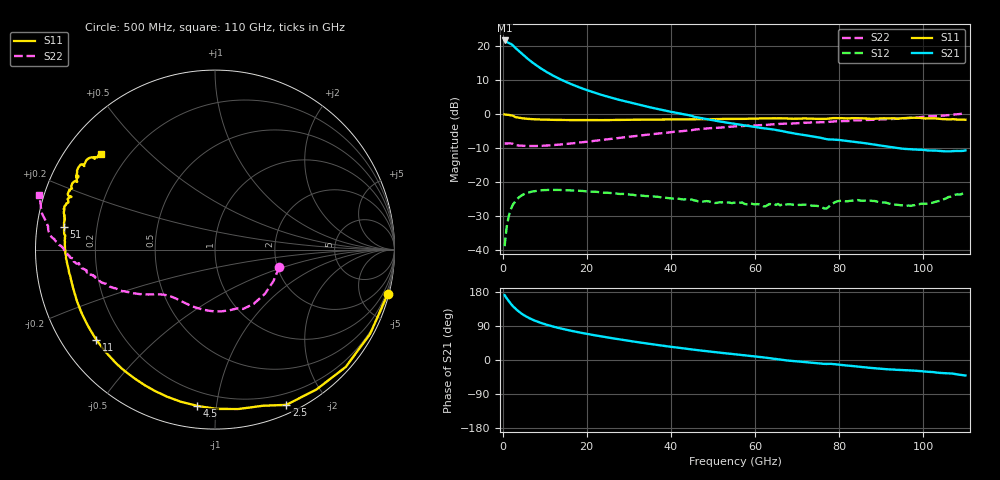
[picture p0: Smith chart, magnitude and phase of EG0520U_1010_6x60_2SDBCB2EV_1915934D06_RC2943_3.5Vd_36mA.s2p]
!File name = EG0520U_1010_6x60_2SDBCB2EV_1915934D06_RC2943_3.5Vd_36mA.s2p
!Base file name = EG0520U_1010_6x60_2SDBCB2EV_1915934D06_RC2943
!Date = 8/23/2019
!Time = 1:04 PM
!Test duration(min) = 0.15
!Test = S-Parameters
!MPTS version = 8.91.5
!State File = C:\Data\PNA\20190821205423\S-Parameters_2019-08-23.sta
!Cal File =
!ComputerName = CMPE-LAB-6
!Comments =
!Attenuation = 0
!Z0 = 50
!Input Power(dBm) = -13.00
!Device ID = EG0520U_1010_6x60_2SDBCB2EV
!Row = 29
!Column = 43
!Technology = QPHT09
!Lot/Wafer = 1915934D06
!Gate Size = 360
!Mask = EG0520
!Cal Standards = GaAs BCB
!Cal Kit = EG2306
!Job Number = 20190821205423
!Device Type = FET
!set_Vg(v) = -1.500
!set_Vd(v) = 3.500
!set_Vd(mA) = 36.000
!file_name = EG0520U_1010_6x60_2SDBCB2EV_1915934D06_RC2943_3.5Vd_36mA.s2p
!Vd(V) = 3.500
!Vd(mA) = 36.027
!Vg(V) = -0.526
!Vg(mA) = -0.003
# GHz  S  DB  R  50
!%	Freq(GHz)  s11(dB)  s11(deg)  s21(dB)  s21(deg)  s12(dB)  s12(deg)  s22(dB)  s22(deg)
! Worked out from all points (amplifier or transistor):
!   220 points, 500 MHz to 110 GHz, reference 50 ohm
!   highest |S21| = 21.8 dB at 500 MHz (marker M1)
!   |S21| within 3 dB of that: start of sweep to 3.777 GHz
!   unconditionally stable (mu >= 1): 32.57 GHz to 96.44 GHz
!   at 18.5 GHz: K = 0.56, MSG = 15.2 dB, |S12| = -22.6 dB
!   at 55.5 GHz: K = 1.59, MAG = 7.1 dB, |S12| = -26.1 dB
!   at 110 GHz: K = -1.25, MSG = 6.1 dB, |S12| = -22.9 dB
!   S11 on the Smith chart (normalised r, x): 500 MHz: 0.21, -7.88; 2.5 GHz: 0.08, -1.56; 4.5 GHz: 0.12, -0.89; 11 GHz: 0.10, -0.33; 51 GHz: 0.08, +0.08; 110 GHz: 0.11, +0.36
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0.5  -0.06 -14.5  21.76 171.1  -38.89 81.1  -8.60 -14.8
1  -0.14 -28.6  21.35 162.7  -33.12 73.7  -8.64 -28.4
1.5  -0.18 -41.9  21.00 155.4  -29.96 66.4  -8.60 -41.5
2  -0.33 -54.0  20.73 148.0  -27.94 59.6  -8.61 -54.3
2.5  -0.43 -65.3  20.30 141.6  -26.56 53.9  -8.73 -64.6
3  -0.82 -72.9  19.62 136.4  -25.74 49.5  -9.11 -68.9
3.5  -0.94 -81.7  19.07 131.3  -24.98 45.0  -9.18 -76.8
4.5  -1.15 -96.4  17.95 122.6  -23.97 37.6  -9.26 -90.1
5.5  -1.29 -108.1  16.88 115.5  -23.35 31.8  -9.35 -100.3
7  -1.45 -121.4  15.37 107.0  -22.81 25.2  -9.36 -111.5
9  -1.55 -133.8  13.61 98.5  -22.44 19.0  -9.32 -120.7
11  -1.62 -142.9  12.10 91.4  -22.31 14.2  -9.19 -127.3
14.5  -1.69 -153.8  9.87 81.5  -22.36 8.5  -8.83 -134.4
19  -1.73 -162.8  7.58 71.1  -22.61 3.7  -8.23 -139.7
26.5  -1.69 -172.2  4.65 56.8  -23.28 -0.4  -7.14 -145.4
37  -1.55 179.4  1.53 39.3  -24.35 -1.7  -5.68 -152.2
51  -1.41 171.3  -1.99 20.2  -26.10 2.2  -4.00 -162.1
55.5  -1.37 168.9  -2.88 14.7  -26.05 3.0  -3.56 -164.4
73.5  -1.30 160.3  -6.50 -7.2  -26.94 2.7  -2.38 -173.1
92  -1.22 151.8  -9.62 -24.7  -26.35 -10.3  -1.41 179.2
101  -1.20 147.1  -10.66 -30.9  -26.39 -5.8  -0.65 174.2
110  -1.62 140.2  -10.68 -40.9  -22.91 -15.5  0.23 162.9
